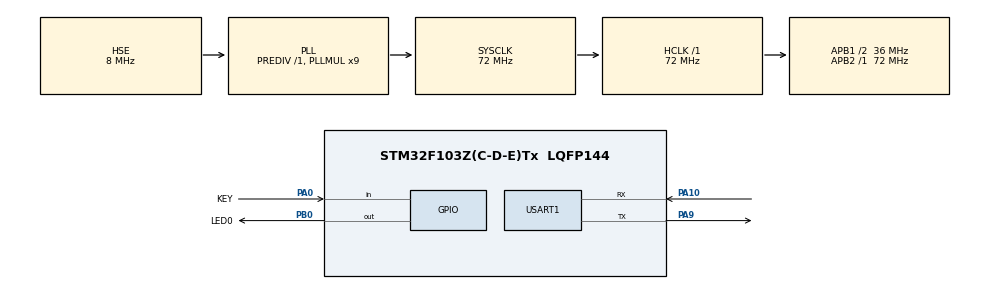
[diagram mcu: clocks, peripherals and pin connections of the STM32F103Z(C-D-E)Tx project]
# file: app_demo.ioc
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Mcu.Family=STM32F1
Mcu.Name=STM32F103Z(C-D-E)Tx
Mcu.Package=LQFP144
NVIC.PriorityGroup=NVIC_PRIORITYGROUP_4
OSC_IN.Mode=HSE-External-Oscillator
OSC_IN.Signal=RCC_OSC_IN
OSC_OUT.Mode=HSE-External-Oscillator
OSC_OUT.Signal=RCC_OSC_OUT
PA0-WKUP.GPIO_Label=KEY
PA0-WKUP.Signal=GPIO_Input
PA10.Mode=Asynchronous
PA10.Signal=USART1_RX
PA13.Mode=Serial_Wire
PA13.Signal=SYS_JTMS-SWDIO
PA14.Mode=Serial_Wire
PA14.Signal=SYS_JTCK-SWCLK
PA9.Mode=Asynchronous
PA9.Signal=USART1_TX
PB0.GPIO_Label=LED0
PB0.Signal=GPIO_Output
ProjectManager.HeapSize=0x200
ProjectManager.StackSize=0x400
ProjectManager.TargetToolchain=MDK-ARM V5.32
RCC.AHBFreq_Value=72000000
RCC.APB1CLKDivider=RCC_HCLK_DIV2
RCC.APB1Freq_Value=36000000
RCC.APB1TimFreq_Value=72000000
RCC.APB2Freq_Value=72000000
RCC.APB2TimFreq_Value=72000000
RCC.HCLKFreq_Value=72000000
RCC.PLLMUL=RCC_PLL_MUL9
RCC.PLLSourceVirtual=RCC_PLLSOURCE_HSE
RCC.SYSCLKFreq_VALUE=72000000
RCC.SYSCLKSource=RCC_SYSCLKSOURCE_PLLCLK
RCC.USBFreq_Value=72000000
USART1.VirtualMode=VM_ASYNC
board=custom

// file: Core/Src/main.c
/* USER CODE BEGIN Header */
/**
 * @file    main.c
 * @brief   OTA 测试 App —— 验证 Bootloader 跳转与升级结果
 *
 * 现象：
 *   - LED0 周期闪烁（v1.0 慢闪 500ms / v1.1 快闪 150ms）
 *   - USART1（板载 CH340）打印版本与运行信息
 *
 * ⚠️ 编译前必须设置 IROM1 = 0x08008000（见 CUBE_MX_CONFIG.md）
 */
/* USER CODE END Header */
#include "main.h"
#include "usart.h"
#include "gpio.h"

/* USER CODE BEGIN Includes */
#include <stdio.h>
/* USER CODE END Includes */

/* USER CODE BEGIN PD */
#define APP_VERSION      "1.0.0"        /* 升级测试时改成 1.1.0 重新编译   */
#define APP_FLASH_BASE   0x08008000UL   /* 必须与 IROM1 一致               */
#define BLINK_PERIOD_MS  1000            /* v1.1 改成 150                   */

/* LED 引脚 —— 与 Bootloader 的 ota_config.h 保持一致
   没亮就改下面两行换一个试（常见 PB0 / PB5 / PE5）                  */
#define OTA_LED_PORT     GPIOB
#define OTA_LED_PIN      GPIO_PIN_5
/* USER CODE END PD */

/* USER CODE BEGIN PFP */
void SystemClock_Config(void);
static void OTA_LED_Init(void);
/* USER CODE END PFP */

int main(void)
{

    /* MCU Configuration--------------------------------------------------------*/
    HAL_Init();

    /* USER CODE BEGIN SysInit */
    /* 中断向量表重定位到 App 区（跳转后中断必须指向这里）
       注：Bootloader 跳转前已设置 VTOR，这里再设一次做双保险，
       同时兼容直接 ST-Link 烧录调试的场景 */
    SCB->VTOR = APP_FLASH_BASE;

    /* ★ 关键修复：解除 Bootloader 遗留的全局中断屏蔽 ★
       Bootloader 的 JumpToApp() 里执行了 __disable_irq()（PRIMASK=1），
       这个状态会跟着跳转带进 App，启动文件和库函数都不会自动清除。
       不清零的话：SysTick 中断永不触发 → HAL_GetTick() 冻结 →
       主循环的 blink 判断永远不成立 → LED 不闪、无 alive 输出。
       顺序要求：必须放在 SCB->VTOR 之后（先定位向量表再开中断）。 */
    __set_PRIMASK(0);
    /* USER CODE END SysInit */

    /* Configure the system clock */
    SystemClock_Config();

    /* Initialize all configured peripherals */
    MX_GPIO_Init();
    MX_USART1_UART_Init();

    /* USER CODE BEGIN 2 */
    OTA_LED_Init();   /* 手动初始化 LED 引脚（不依赖 CubeMX） */

    printf("\r\n");
    printf("========================================\r\n");
    printf("[APP]  STM32F103 OTA Demo\r\n");
    printf("[APP]  version : %s\r\n", APP_VERSION);
    printf("[APP]  base    : 0x%08lX\r\n", APP_FLASH_BASE);
    printf("[APP]  VTOR    : 0x%08lX\r\n", SCB->VTOR);
    printf("[APP]  stack   : 0x%08lX\r\n", *(volatile uint32_t *)APP_FLASH_BASE);
    printf("[APP]  reset   : 0x%08lX\r\n", *(volatile uint32_t *)(APP_FLASH_BASE + 4));
    printf("========================================\r\n");
    /* USER CODE END 2 */

    /* Infinite loop */
    /* USER CODE BEGIN WHILE */
    uint32_t lastBlink = 0;
    uint8_t  ledState  = 0;
    uint32_t sec = 0;

    while (1)
    {
        uint32_t now = HAL_GetTick();
        if (now - lastBlink > BLINK_PERIOD_MS) {
            lastBlink = now;
            ledState = !ledState;
            HAL_GPIO_WritePin(OTA_LED_PORT, OTA_LED_PIN,
                              ledState ? GPIO_PIN_SET : GPIO_PIN_RESET);
            printf("[APP] alive %lus (v%s)\r\n", sec++, APP_VERSION);
        }
    /* USER CODE END WHILE */
    }
}

void SystemClock_Config(void)
{
    RCC_OscInitTypeDef RCC_OscInitStruct = {0};
    RCC_ClkInitTypeDef RCC_ClkInitStruct = {0};

    RCC_OscInitStruct.OscillatorType = RCC_OSCILLATORTYPE_HSE;
    RCC_OscInitStruct.HSEState       = RCC_HSE_ON;
    RCC_OscInitStruct.HSEPredivValue = RCC_HSE_PREDIV_DIV1;
    RCC_OscInitStruct.PLL.PLLState    = RCC_PLL_ON;
    RCC_OscInitStruct.PLL.PLLSource   = RCC_PLLSOURCE_HSE;
    RCC_OscInitStruct.PLL.PLLMUL     = RCC_PLL_MUL9;
    if (HAL_RCC_OscConfig(&RCC_OscInitStruct) != HAL_OK) {
        Error_Handler();
    }

    RCC_ClkInitStruct.ClockType = RCC_CLOCKTYPE_HCLK | RCC_CLOCKTYPE_SYSCLK
                                | RCC_CLOCKTYPE_PCLK1 | RCC_CLOCKTYPE_PCLK2;
    RCC_ClkInitStruct.SYSCLKSource   = RCC_SYSCLKSOURCE_PLLCLK;
    RCC_ClkInitStruct.AHBCLKDivider  = RCC_SYSCLK_DIV1;
    RCC_ClkInitStruct.APB1CLKDivider = RCC_HCLK_DIV2;
    RCC_ClkInitStruct.APB2CLKDivider = RCC_HCLK_DIV1;

    if (HAL_RCC_ClockConfig(&RCC_ClkInitStruct, FLASH_LATENCY_2) != HAL_OK) {
        Error_Handler();
    }
}

/* USER CODE BEGIN 4 */
/**
 * @brief printf 重定向到 USART1（Keil MDK）
 */
int fputc(int ch, FILE *f)
{
    HAL_UART_Transmit(&huart1, (uint8_t *)&ch, 1, 10);
    return ch;
}

/**
 * @brief 手动初始化 LED 引脚（不依赖 CubeMX 生成的 gpio.c）
 */
static void OTA_LED_Init(void)
{
    __HAL_RCC_GPIOA_CLK_ENABLE();
    __HAL_RCC_GPIOB_CLK_ENABLE();
    __HAL_RCC_GPIOC_CLK_ENABLE();
    __HAL_RCC_GPIOD_CLK_ENABLE();
    __HAL_RCC_GPIOE_CLK_ENABLE();

    GPIO_InitTypeDef gi = {0};
    gi.Pin   = OTA_LED_PIN;
    gi.Mode  = GPIO_MODE_OUTPUT_PP;
    gi.Pull  = GPIO_NOPULL;
    gi.Speed = GPIO_SPEED_FREQ_LOW;
    HAL_GPIO_Init(OTA_LED_PORT, &gi);

    HAL_GPIO_WritePin(OTA_LED_PORT, OTA_LED_PIN, GPIO_PIN_SET);   /* 初始熄灭 */
}
/* USER CODE END 4 */

void Error_Handler(void)
{
    __disable_irq();
    while (1) {
    }
}
